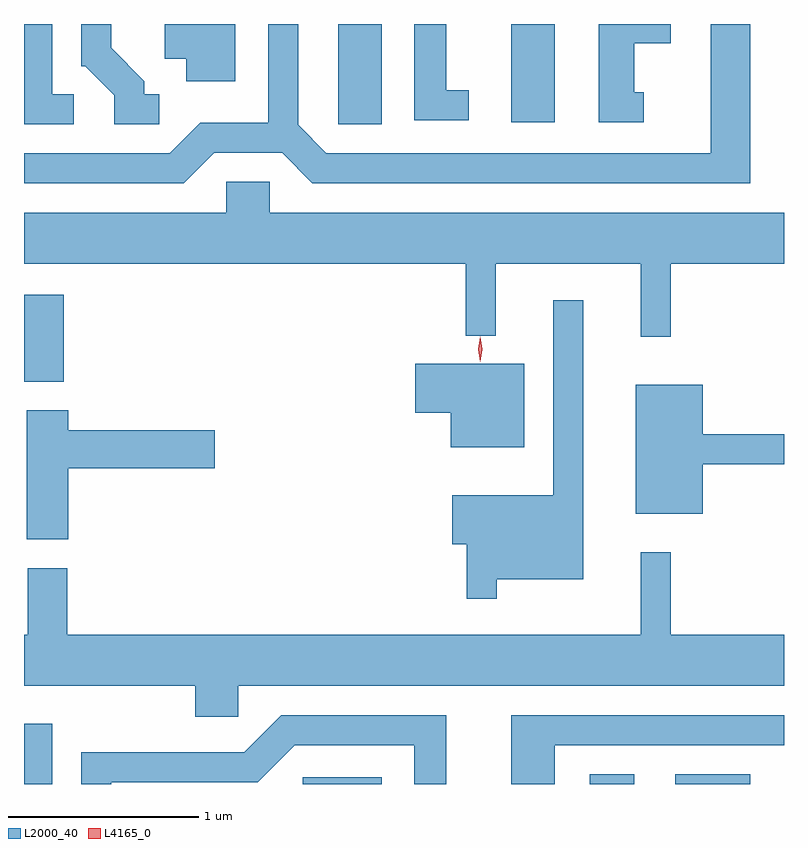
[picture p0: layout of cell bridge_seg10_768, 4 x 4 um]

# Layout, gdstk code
import gdstk
lib = gdstk.Library(unit=1e-6, precision=1e-09)
def R(c, l, rs):  # rectangles x0, y0, x1, y1
    for r in rs: c.add(gdstk.rectangle(r[:2], r[2:], *l))
def P(c, l, *ps):  # polygons
    for p in ps: c.add(gdstk.Polygon(p, *l))
L2000_40 = (2000, 40)
L4165_0 = (4165, 0)

bridge_seg10_768 = lib.new_cell('bridge_seg10_768')
R(bridge_seg10_768, L2000_40, [(429.861,2166.678,430.009,2166.994), (431.328,2166.678,431.744,2166.714), (432.838,2166.678,433.074,2166.729), (433.288,2166.678,433.684,2166.729), (429.861,2168.796,430.069,2169.254), (431.516,2170.151,431.744,2170.678), (432.426,2170.161,432.654,2170.678)])
P(bridge_seg10_768, L2000_40, [(430.862,2170.001),(431.219,2170.001),(431.379,2169.841),(433.684,2169.841),(433.684,2170.678),(433.476,2170.678),(433.476,2169.999),(431.452,2169.999),(431.304,2170.147),(431.304,2170.678),(431.146,2170.678),(431.146,2170.159),(430.789,2170.159),(430.629,2169.999),(429.861,2169.999),(429.861,2169.841),(430.702,2169.841)],
  [(433.123,2170.319),(433.074,2170.319),(433.074,2170.576),(433.264,2170.576),(433.264,2170.678),(432.886,2170.678),(432.886,2170.161),(433.123,2170.161)],
  [(432.203,2170.329),(432.084,2170.329),(432.084,2170.678),(431.916,2170.678),(431.916,2170.171),(432.203,2170.171)],
  [(430.573,2170.309),(430.494,2170.309),(430.494,2170.377),(430.319,2170.552),(430.319,2170.678),(430.161,2170.678),(430.161,2170.456),(430.184,2170.456),(430.336,2170.304),(430.336,2170.151),(430.573,2170.151)],
  [(430.974,2170.678),(430.601,2170.678),(430.601,2170.496),(430.716,2170.496),(430.716,2170.376),(430.974,2170.376)],
  [(430.123,2170.309),(430.009,2170.309),(430.009,2170.678),(429.861,2170.678),(429.861,2170.151),(430.123,2170.151)],
  [(433.264,2169.416),(433.861,2169.416),(433.861,2169.684),(431.154,2169.684),(431.154,2169.849),(430.926,2169.849),(430.926,2169.684),(429.861,2169.684),(429.861,2169.416),(432.186,2169.416),(432.186,2169.038),(432.344,2169.038),(432.344,2169.416),(433.106,2169.416),(433.106,2169.033),(433.264,2169.033)],
  [(432.349,2167.756),(432.804,2167.756),(432.804,2169.223),(432.646,2169.223),(432.646,2168.199),(432.116,2168.199),(432.116,2167.941),(432.191,2167.941),(432.191,2167.653),(432.349,2167.653)],
  [(432.494,2168.889),(431.921,2168.889),(431.921,2168.631),(432.106,2168.631),(432.106,2168.451),(432.494,2168.451)],
  [(433.434,2168.361),(433.861,2168.361),(433.861,2168.519),(433.434,2168.519),(433.434,2168.779),(433.081,2168.779),(433.081,2168.101),(433.434,2168.101)],
  [(430.094,2168.341),(430.864,2168.341),(430.864,2168.539),(430.094,2168.539),(430.094,2168.644),(429.876,2168.644),(429.876,2167.966),(430.094,2167.966)],
  [(430.989,2167.196),(433.861,2167.196),(433.861,2167.464),(433.264,2167.464),(433.264,2167.898),(433.106,2167.898),(433.106,2167.464),(430.089,2167.464),(430.089,2167.814),(429.881,2167.814),(429.881,2167.464),(429.861,2167.464),(429.861,2167.196),(430.761,2167.196),(430.761,2167.031),(430.989,2167.031)],
  [(432.654,2166.881),(433.861,2166.881),(433.861,2167.039),(432.426,2167.039),(432.426,2166.678),(432.654,2166.678)],
  [(430.319,2166.686),(431.092,2166.686),(431.287,2166.881),(431.916,2166.881),(431.916,2166.678),(432.084,2166.678),(432.084,2167.039),(431.214,2167.039),(431.019,2166.844),(430.161,2166.844),(430.161,2166.678),(430.319,2166.678)])
P(bridge_seg10_768, L4165_0, [(432.262,2168.9),(432.262,2168.901),(432.252,2168.966),(432.262,2169.031),(432.262,2169.031),(432.263,2169.031),(432.272,2168.966),(432.263,2168.901)])

lib.write_gds('bridge_seg10_768.gds')
